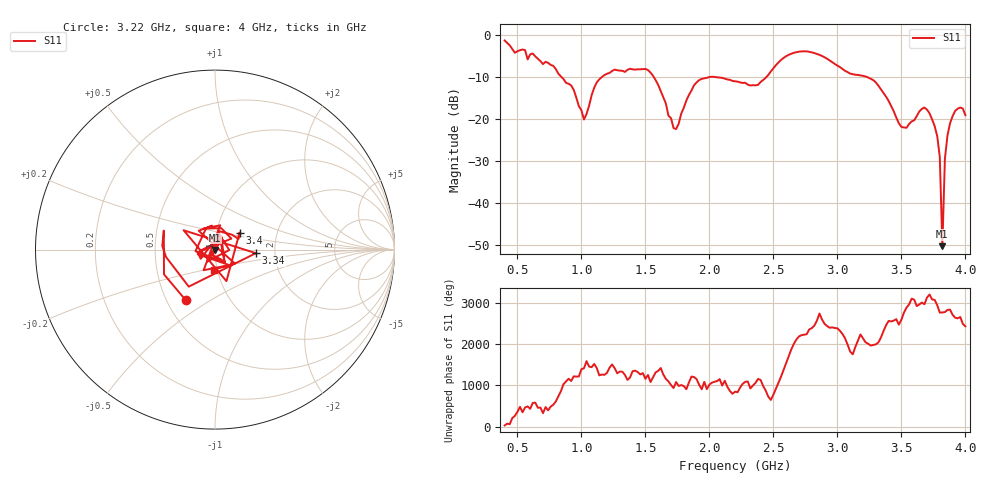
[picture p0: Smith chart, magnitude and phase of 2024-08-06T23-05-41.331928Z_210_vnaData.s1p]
!Created with skrf (http://scikit-rf.org).
# Hz S RI R 50.0
!freq ReS11 ImS11
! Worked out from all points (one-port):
!   181 points, 400 MHz to 4 GHz, reference 50 ohm
!   lowest |S11| = -50.2 dB at 3.82 GHz (marker M1), VSWR 1.01, Z = 49.8 - j0.27 ohm
!   |S11| at or under -10 dB: 1.567 GHz to 1.989 GHz (421.8 MHz wide, 23.7 % of centre); 2.071 GHz to 2.442 GHz (371.5 MHz wide, 16.5 % of centre); 3.239 GHz to end of sweep (the widest 3 of 4)
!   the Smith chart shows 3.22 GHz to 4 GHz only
!   S11 on the Smith chart (normalised r, x): 3.22 GHz: 0.62, -0.39; 3.34 GHz: 1.59, -0.07; 3.4 GHz: 1.29, +0.25; 4 GHz: 0.96, -0.22
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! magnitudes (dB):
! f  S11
! 400 MHz  -1.2
! 860 MHz  -10.4
! 940 MHz  -13.0
! 1.02 GHz  -20.0
! 1.12 GHz  -11.2
! 1.3 GHz  -8.4
! 1.52 GHz  -8.2
! 1.6 GHz  -11.8
! 1.72 GHz  -22.1
! 1.76 GHz  -21.0
! 1.92 GHz  -10.6
! 2.2 GHz  -10.9
! 2.38 GHz  -11.8
! 2.66 GHz  -4.1
! 3.1 GHz  -9.1
! 3.22 GHz  -9.8
! 3.34 GHz  -12.8
! 3.4 GHz  -15.6
! 3.5 GHz  -21.8
! 3.56 GHz  -21.1
! 3.68 GHz  -17.2
! 3.76 GHz  -21.6
! 3.8 GHz  -28.9
! 3.82 GHz  -50.2
! 3.84 GHz  -29.3
! 3.86 GHz  -23.8
! 3.92 GHz  -18.0
! 4 GHz  -19.0
